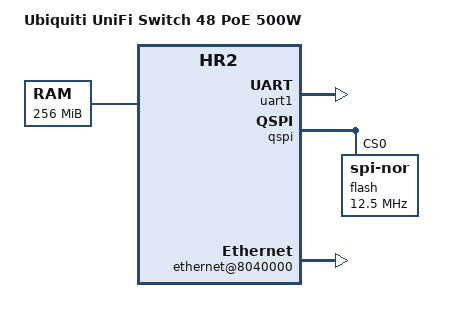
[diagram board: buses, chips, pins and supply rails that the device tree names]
// SPDX-License-Identifier: GPL-2.0-or-later OR MIT
/*
 * Ubiquiti UniFi Switch 48 PoE 500W (US-48-500W), second-stage U-Boot.
 * Node layout follows bcm-hr2.dtsi + the board DTS in the Linux tree
 * (mainline/0005, 0007); only what U-Boot uses (M1 + M2 QSPI) is listed.
 */

/dts-v1/;

/ {
	compatible = "ubnt,unifi-us-48-500w", "brcm,bcm53344", "brcm,hr2";
	model = "Ubiquiti UniFi Switch 48 PoE 500W";
	interrupt-parent = <&gic>;
	#address-cells = <1>;
	#size-cells = <1>;

	aliases {
		serial0 = &uart1;
		watchdog0 = &watchdog;
	};

	chosen {
		stdout-path = "serial0:115200n8";
	};

	cpus {
		#address-cells = <1>;
		#size-cells = <0>;

		cpu@0 {
			device_type = "cpu";
			compatible = "arm,cortex-a9";
			reg = <0x0>;
		};
	};

	memory@0 {
		device_type = "memory";
		reg = <0x00000000 0x08000000>,
		      <0x68000000 0x08000000>;
	};

	clocks {
		#address-cells = <1>;
		#size-cells = <1>;
		ranges;

		apb_clk: clock-apb {
			#clock-cells = <0>;
			compatible = "fixed-clock";
			clock-frequency = <50000000>;
		};

		/* ARM/2 read from the ARM PLL regs (board.c) */
		periph_clk: periph_clk {
			#clock-cells = <0>;
			compatible = "awto,us48-periph-clk";
		};
	};

	mpcore@19000000 {
		compatible = "simple-bus";
		ranges = <0x00000000 0x19000000 0x00023000>;
		#address-cells = <1>;
		#size-cells = <1>;

		timer@20200 {
			compatible = "arm,cortex-a9-global-timer";
			reg = <0x20200 0x100>;
			clocks = <&periph_clk>;
		};

		gic: interrupt-controller@21000 {
			compatible = "arm,cortex-a9-gic";
			#interrupt-cells = <3>;
			#address-cells = <0>;
			interrupt-controller;
			reg = <0x21000 0x1000>,
			      <0x20100 0x100>;
		};
	};

	axi@18000000 {
		compatible = "simple-bus";
		ranges = <0x00000000 0x18000000 0x0011c40c>;
		#address-cells = <1>;
		#size-cells = <1>;

		uart1: serial@400 {
			compatible = "ns16550a";
			reg = <0x0400 0x100>;
			clock-frequency = <50000000>;
		};

		/*
		 * reg values: bcm-hr2.dtsi qspi@27200 (mspi 0x27200/0x184, bspi 0x27000/0x124).
		 * bspi_raf = bspi + 0x100 (RAF regs 0x00..0x20, the tail of the 0x124 bspi window,
		 * as Linux spi-bcm-qspi); U-Boot iproc_qspi wants it as its own reg-name.
		 */
		qspi: spi@27200 {
			compatible = "brcm,iproc-qspi";
			reg = <0x27200 0x184>, <0x27000 0x124>, <0x27100 0x24>;
			reg-names = "mspi", "bspi", "bspi_raf";
			#address-cells = <1>;
			#size-cells = <0>;

			/* mainline/0007: jedec,spi-nor, 12.5 MHz, mode 3; MX25L25635E 32 MiB, no partitions here */
			flash@0 {
				compatible = "jedec,spi-nor";
				reg = <0>;
				spi-max-frequency = <12500000>;
				spi-rx-bus-width = <4>;	/* #20: quad read (IO2/IO3 wiring + QE under test) */
				spi-cpol;
				spi-cpha;
			};
		};

		watchdog: watchdog@39000 {
			compatible = "arm,sp805", "arm,primecell";
			reg = <0x39000 0x1000>;
			clocks = <&apb_clk>, <&apb_clk>;
			clock-names = "wdog_clk", "apb_pclk";
			/* running at entry (dev.py arms it); first expiry = IRQ, second = reset */
			timeout-sec = <10>;
			u-boot,autostart;
		};

		dmu: syscon@3f000 {
			compatible = "brcm,hr2-dmu", "syscon";
			reg = <0x3f000 0x1000>;
		};
	};

	/* BCM53346 CMIC = PCIe BAR2, already enumerated by stock U-Boot (docs/uboot-second-stage.md M3) */
	ethernet@8040000 {
		compatible = "ubnt,us48-cmic-eth";
		reg = <0x08040000 0x40000>;
	};

	/* same restart as Linux: clear DMU 0x3f200 bit 1 */
	reboot {
		compatible = "syscon-reboot";
		regmap = <&dmu>;
		offset = <0x200>;
		mask = <0x2>;
		value = <0x0>;
	};
};
